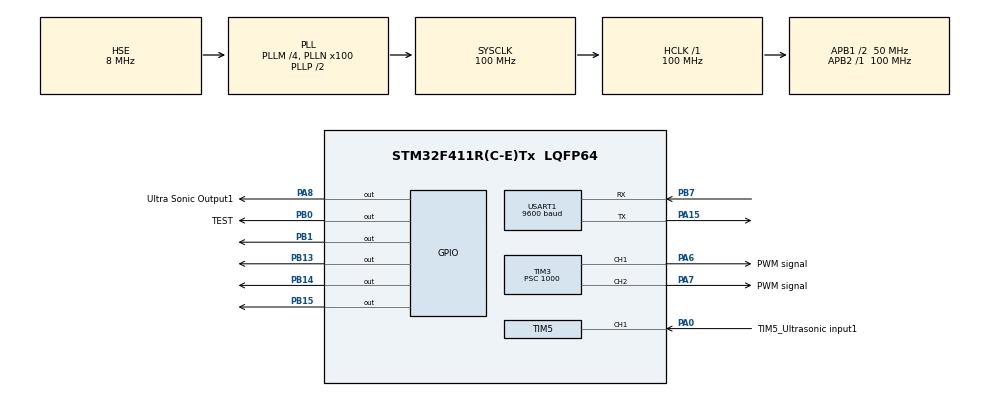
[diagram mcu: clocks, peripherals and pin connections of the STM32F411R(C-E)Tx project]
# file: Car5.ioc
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Mcu.Family=STM32F4
Mcu.Name=STM32F411R(C-E)Tx
Mcu.Package=LQFP64
NVIC.PriorityGroup=NVIC_PRIORITYGROUP_4
NVIC.TIM5_IRQn=true\:0\:0\:false\:false\:true\:true\:true\:true
NVIC.USART1_IRQn=true\:0\:0\:false\:false\:true\:true\:true\:true
PA0-WKUP.GPIO_Label=TIM5_Ultrasonic input1
PA0-WKUP.Signal=S_TIM5_CH1
PA13.Mode=Serial_Wire
PA13.Signal=SYS_JTMS-SWDIO
PA14.Mode=Serial_Wire
PA14.Signal=SYS_JTCK-SWCLK
PA15.Mode=Asynchronous
PA15.Signal=USART1_TX
PA6.GPIO_Label=PWM signal
PA6.Signal=S_TIM3_CH1
PA7.GPIO_Label=PWM signal
PA7.Signal=S_TIM3_CH2
PA8.GPIO_Label=Ultra Sonic Output1
PA8.Signal=GPIO_Output
PB0.GPIO_Label=TEST
PB0.Signal=GPIO_Output
PB1.Signal=GPIO_Output
PB13.Signal=GPIO_Output
PB14.Signal=GPIO_Output
PB15.Signal=GPIO_Output
PB7.Mode=Asynchronous
PB7.Signal=USART1_RX
PH0\ -\ OSC_IN.Mode=HSE-External-Oscillator
PH0\ -\ OSC_IN.Signal=RCC_OSC_IN
PH1\ -\ OSC_OUT.Mode=HSE-External-Oscillator
PH1\ -\ OSC_OUT.Signal=RCC_OSC_OUT
ProjectManager.HeapSize=0x200
ProjectManager.StackSize=0x400
ProjectManager.TargetToolchain=STM32CubeIDE
RCC.48MHZClocksFreq_Value=50000000
RCC.AHBFreq_Value=100000000
RCC.APB1CLKDivider=RCC_HCLK_DIV2
RCC.APB1Freq_Value=50000000
RCC.APB1TimFreq_Value=100000000
RCC.APB2Freq_Value=100000000
RCC.APB2TimFreq_Value=100000000
RCC.CortexFreq_Value=100000000
RCC.HCLKFreq_Value=100000000
RCC.HSE_VALUE=8000000
RCC.HSI_VALUE=16000000
RCC.LSE_VALUE=32768
RCC.PLLM=4
RCC.PLLN=100
RCC.PLLSourceVirtual=RCC_PLLSOURCE_HSE
RCC.SYSCLKFreq_VALUE=100000000
RCC.SYSCLKSource=RCC_SYSCLKSOURCE_PLLCLK
RCC.VCOOutputFreq_Value=200000000
SH.S_TIM3_CH1.0=TIM3_CH1,PWM Generation1 CH1
SH.S_TIM3_CH2.0=TIM3_CH2,PWM Generation2 CH2
SH.S_TIM5_CH1.0=TIM5_CH1,Input_Capture1_from_TI1
TIM3.Channel-PWM\ Generation1\ CH1=TIM_CHANNEL_1
TIM3.Channel-PWM\ Generation2\ CH2=TIM_CHANNEL_2
TIM3.Period=1000
TIM3.Prescaler=1000
TIM5.Channel-Input_Capture1_from_TI1=TIM_CHANNEL_1
TIM5.Period=65535
TIM5.Prescaler=100-1
USART1.BaudRate=9600
USART1.VirtualMode=VM_ASYNC
VP_TIM3_VS_ClockSourceINT.Mode=Internal
VP_TIM5_VS_ClockSourceINT.Mode=Internal
board=custom

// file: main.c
/* USER CODE BEGIN Header */
/**
  ******************************************************************************
  * @file           : main.c
  * @brief          : Main program body
  ******************************************************************************
  * @attention
  *
  * Copyright (c) 2025 STMicroelectronics.
  * All rights reserved.
  *
  * This software is licensed under terms that can be found in the LICENSE file
  * in the root directory of this software component.
  * If no LICENSE file comes with this software, it is provided AS-IS.
  *
  ******************************************************************************
  */
/* USER CODE END Header */
#include "main.h"
#include "tim.h"
#include "usart.h"
#include "gpio.h"

/* USER CODE BEGIN Includes */
#include "motor_control.h"
#include "ultrasonic.h"

/* USER CODE END Includes */

/* USER CODE BEGIN PV */
uint8_t rxData;
uint16_t speed = 200;

/* USER CODE END PV */

void SystemClock_Config(void);

/* USER CODE BEGIN 0 */
void HAL_UART_RxCpltCallback(UART_HandleTypeDef *huart)
{
	if(huart->Instance == USART1)
	{
		switch(rxData)
		{
		case 'w':
			MotorSpeed(speed);
			GoForward();
			break;
		case 'a':
			MotorSpeed(speed);
			TurnLeft();
			break;
		case 'z':
			MotorSpeed(speed);
			GoBackward();
			break;
		case 'd':
			MotorSpeed(speed);
			TurnRight();
			break;
		case '1':
			speed = 200;
//			MotorSpeed(speed);
			break;
		case '2':
			speed = 300;
//			MotorSpeed(speed);
			break;
		case '3':
			speed = 400;
//			MotorSpeed(speed);
			break;
		case '4':
			speed = 500;
//			MotorSpeed(speed);
			break;
		case '5':
			MotorSpeed(200);
			GoForward();

//			HAL_GPIO_WritePin(GPIOA, GPIO_PIN_4, 1);
//			HAL_Delay(100);
//			HAL_GPIO_WritePin(GPIOA, GPIO_PIN_4, 0);

			while(1)
			{
//				HAL_GPIO_WritePin(GPIOA, GPIO_PIN_4, 1);
//				HAL_Delay(1000);
//				HAL_GPIO_WritePin(GPIOA, GPIO_PIN_4, 0);
//				HCRSC04_Trigger();
//				if(distance < 50)
//				{
//					HAL_GPIO_TogglePin(GPIOA, GPIO_PIN_4);
//	//				GoBackward();
//	//				HAL_Delay(100);
//	//				CarStop();
//				}
			}

			break;

		default:
			CarStop();
			break;

		}

//		if(rxData == '1')
//		{
//			HAL_GPIO_TogglePin(GPIOC, GPIO_PIN_9);
//			HAL_Delay(1);
//
//		}
//		else if(rxData == '2')
//		{
//			HAL_GPIO_WritePin(GPIOC, GPIO_PIN_9, 0);
//			HAL_Delay(1);
//		}

//		HAL_GPIO_TogglePin(GPIOC, GPIO_PIN_9);
//		GoAhead();
//		TIM3->CCR1 = 200;
//		TIM3->CCR2 = 200;
//		HAL_Delay(100);
//		TIM3->CCR1 = 0;
//		TIM3->CCR2 = 0;

		HAL_UART_Receive_IT(&huart1, &rxData, 1);
//		HAL_UART_Transmit_IT(&huart1, &rxData, 1);
	}
}

/* USER CODE END 0 */

int main(void)
{

  /* MCU Configuration--------------------------------------------------------*/

  /* Reset of all peripherals, Initializes the Flash interface and the Systick. */
  HAL_Init();

  /* Configure the system clock */
  SystemClock_Config();

  /* Initialize all configured peripherals */
  MX_GPIO_Init();
  MX_TIM3_Init();
  MX_USART1_UART_Init();
  MX_TIM5_Init();
  /* USER CODE BEGIN 2 */

  HAL_TIM_PWM_Start(&htim3, TIM_CHANNEL_1);  // HAL_TIM_Base_Start(&htim3) 대신 사용
  HAL_TIM_PWM_Start(&htim3, TIM_CHANNEL_2);
  HAL_UART_Receive_IT(&huart1, &rxData, 1);  // 블루투스로 데이터 수신

//  HAL_TIM_Base_Start(&htim3);

//  HAL_TIM_Base_Start(&htim5);
  HAL_TIM_IC_Start_IT(&htim5, TIM_CHANNEL_1);

//  GoForWard();
//  TIM3->CCR1 = 200;
//  TIM3->CCR2 = 200;
//  HAL_Delay(2000);
//  TIM3->CCR1 = 0;
//  TIM3->CCR2 = 0;
//
//  GoBackWard();
//  TIM3->CCR1 = 200;
//  TIM3->CCR2 = 200;
//  HAL_Delay(2000);
//  TIM3->CCR1 = 0;
//  TIM3->CCR2 = 0;

  /* USER CODE END 2 */

  /* Infinite loop */
  /* USER CODE BEGIN WHILE */
  while (1)
  {
	HCRSC04_Trigger();
	HAL_Delay(100);
//	HCRSC04_Trigger_1();
//	HAL_Delay(100);

	HAL_GPIO_WritePin(GPIOB, GPIO_PIN_0, 0);
	if(distance < 100)
	{
		//HAL_GPIO_TogglePin(GPIOB, GPIO_PIN_0);
		HAL_GPIO_WritePin(GPIOB, GPIO_PIN_0, 1);
		HAL_Delay(100);
//		GoBackward();
//		HAL_Delay(200);
//		GoForward();
	}

//		{
//			//MotorSpeed(speed);
//			GoBackward();
//			HAL_Delay(100);
//			CarStop();
//		}

	  // 빠르게 이동 (듀티 사이클 90%)
	  //    TIM3->CCR1 = 900;  // 왼쪽 모터 속도 조절 (PWM)
	    //  TIM3->CCR2 = 900;  // 오른쪽 모터 속도 조절 (PWM)
//	      HAL_Delay(3000);

	  	  // 최저속도 135
	      // 중간 속도 (듀티 사이클 50%)
//	      TIM3->CCR1 = 200;
//	      TIM3->CCR2 = 200;
//	      HAL_Delay(3000);
//	      TIM3->CCR1 = 0;
//	      TIM3->CCR2 = 0;

//	  uint32_t apb1_clk = HAL_RCC_GetPCLK1Freq();
//	  uint32_t apb2_clk = HAL_RCC_GetPCLK2Freq();

    /* USER CODE END WHILE */

  }
}

void SystemClock_Config(void)
{
  RCC_OscInitTypeDef RCC_OscInitStruct = {0};
  RCC_ClkInitTypeDef RCC_ClkInitStruct = {0};

  /** Configure the main internal regulator output voltage
  */
  __HAL_RCC_PWR_CLK_ENABLE();
  __HAL_PWR_VOLTAGESCALING_CONFIG(PWR_REGULATOR_VOLTAGE_SCALE1);

  /** Initializes the RCC Oscillators according to the specified parameters
  * in the RCC_OscInitTypeDef structure.
  */
  RCC_OscInitStruct.OscillatorType = RCC_OSCILLATORTYPE_HSE;
  RCC_OscInitStruct.HSEState = RCC_HSE_ON;
  RCC_OscInitStruct.PLL.PLLState = RCC_PLL_ON;
  RCC_OscInitStruct.PLL.PLLSource = RCC_PLLSOURCE_HSE;
  RCC_OscInitStruct.PLL.PLLM = 4;
  RCC_OscInitStruct.PLL.PLLN = 100;
  RCC_OscInitStruct.PLL.PLLP = RCC_PLLP_DIV2;
  RCC_OscInitStruct.PLL.PLLQ = 4;
  if (HAL_RCC_OscConfig(&RCC_OscInitStruct) != HAL_OK)
  {
    Error_Handler();
  }

  /** Initializes the CPU, AHB and APB buses clocks
  */
  RCC_ClkInitStruct.ClockType = RCC_CLOCKTYPE_HCLK|RCC_CLOCKTYPE_SYSCLK
                              |RCC_CLOCKTYPE_PCLK1|RCC_CLOCKTYPE_PCLK2;
  RCC_ClkInitStruct.SYSCLKSource = RCC_SYSCLKSOURCE_PLLCLK;
  RCC_ClkInitStruct.AHBCLKDivider = RCC_SYSCLK_DIV1;
  RCC_ClkInitStruct.APB1CLKDivider = RCC_HCLK_DIV2;
  RCC_ClkInitStruct.APB2CLKDivider = RCC_HCLK_DIV1;

  if (HAL_RCC_ClockConfig(&RCC_ClkInitStruct, FLASH_LATENCY_3) != HAL_OK)
  {
    Error_Handler();
  }
}

void Error_Handler(void)
{
  __disable_irq();
  while (1)
  {
  }
}
